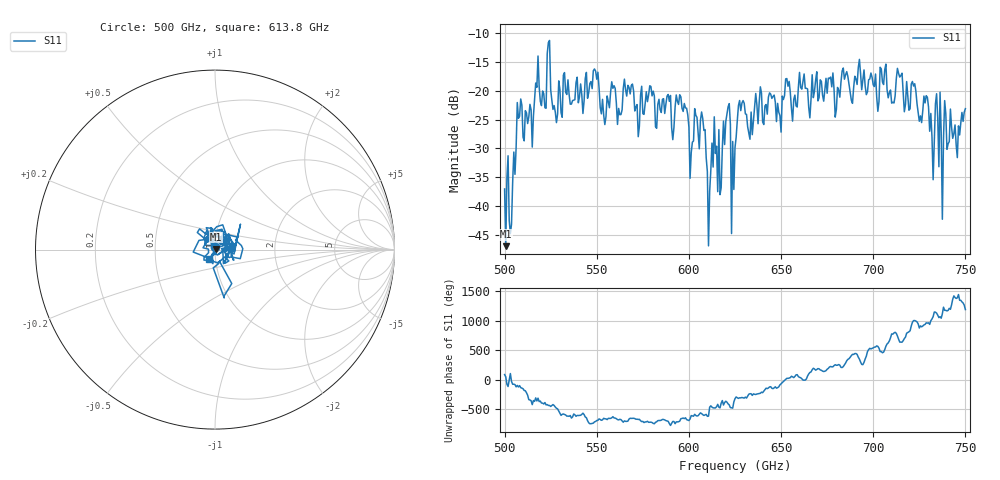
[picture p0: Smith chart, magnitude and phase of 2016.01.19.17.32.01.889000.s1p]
!Created with skrf (http://scikit-rf.org).
# GHz S RI R 50.0
!freq ReS11 ImS11
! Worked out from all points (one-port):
!   401 points, 500 GHz to 750 GHz, reference 50 ohm
!   lowest |S11| = -47.0 dB at 500.6 GHz (marker M1), VSWR 1.01, Z = 50.3 + j0.329 ohm
!   |S11| at or under -10 dB: start of sweep to end of sweep
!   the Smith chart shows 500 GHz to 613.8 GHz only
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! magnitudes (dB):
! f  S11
! 500 GHz  -37.0
! 500.6 GHz  -47.0
! 503.8 GHz  -43.2
! 508.1 GHz  -24.4
! 521.2 GHz  -20.5
! 524.4 GHz  -11.2
! 527.5 GHz  -23.7
! 531.2 GHz  -24.6
! 549.4 GHz  -16.6
! 553.1 GHz  -21.5
! 558.8 GHz  -19.6
! 562.5 GHz  -24.1
! 593.8 GHz  -21.8
! 601.2 GHz  -30.7
! 607.5 GHz  -24.8
! 610.6 GHz  -46.9
! 621.2 GHz  -22.8
! 623.8 GHz  -28.8
! 625 GHz  -29.9
! 628.1 GHz  -23.4
! 656.2 GHz  -25.3
! 687.5 GHz  -20.3
! 718.8 GHz  -20.9
! 728.8 GHz  -20.8
! 731.9 GHz  -28.0
! 735 GHz  -24.8
! 736.9 GHz  -27.2
! 750 GHz  -23.1
